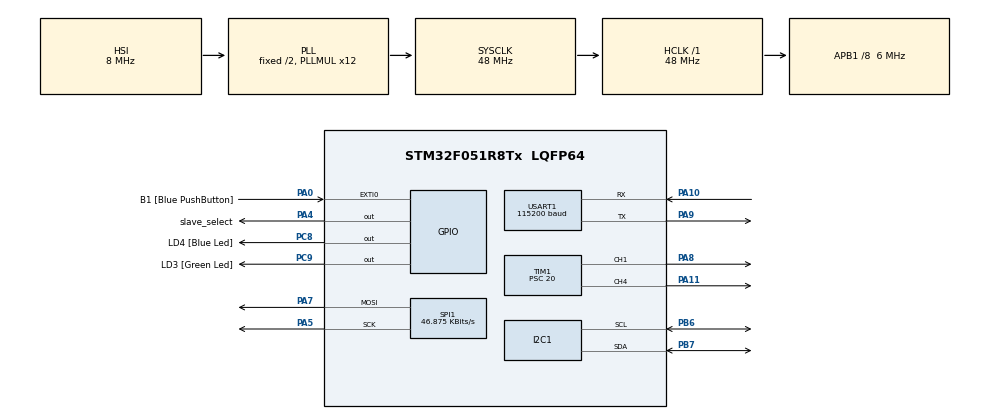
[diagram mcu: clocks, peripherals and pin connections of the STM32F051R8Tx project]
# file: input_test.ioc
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Mcu.Family=STM32F0
Mcu.Name=STM32F051R8Tx
Mcu.Package=LQFP64
NVIC.SPI1_IRQn=true\:0\:0\:false\:false\:true\:true
NVIC.USART1_IRQn=true\:0\:0\:false\:false\:true\:true
PA0.GPIO_Label=B1 [Blue PushButton]
PA0.GPIO_ModeDefaultEXTI=GPIO_MODE_EVT_RISING
PA0.Signal=GPXTI0
PA10.Mode=Asynchronous
PA10.Signal=USART1_RX
PA11.Signal=S_TIM1_CH4
PA13.GPIO_Label=SWDIO
PA13.Mode=Serial_Wire
PA13.Signal=SYS_SWDIO
PA14.GPIO_Label=SWCLK
PA14.Mode=Serial_Wire
PA14.Signal=SYS_SWCLK
PA4.GPIO_Label=slave_select
PA4.Signal=GPIO_Output
PA5.Mode=TX_Only_Simplex_Unidirect_Master
PA5.Signal=SPI1_SCK
PA7.Mode=TX_Only_Simplex_Unidirect_Master
PA7.Signal=SPI1_MOSI
PA8.Signal=S_TIM1_CH1
PA9.Mode=Asynchronous
PA9.Signal=USART1_TX
PB6.Mode=I2C
PB6.Signal=I2C1_SCL
PB7.Mode=I2C
PB7.Signal=I2C1_SDA
PC8.GPIO_Label=LD4 [Blue Led]
PC8.Signal=GPIO_Output
PC9.GPIO_Label=LD3 [Green Led]
PC9.Signal=GPIO_Output
ProjectManager.HeapSize=0x200
ProjectManager.StackSize=0x400
ProjectManager.TargetToolchain=SW4STM32
RCC.AHBFreq_Value=48000000
RCC.APB1CLKDivider=RCC_HCLK_DIV8
RCC.APB1Freq_Value=6000000
RCC.APB1TimFreq_Value=12000000
RCC.HCLKFreq_Value=48000000
RCC.PLLMUL=RCC_PLL_MUL12
RCC.SYSCLKFreq_VALUE=48000000
RCC.SYSCLKSource=RCC_SYSCLKSOURCE_PLLCLK
SH.S_TIM1_CH1.0=TIM1_CH1,PWM Generation1 CH1
SH.S_TIM1_CH4.0=TIM1_CH4,PWM Generation4 CH4
SPI1.BaudRatePrescaler=SPI_BAUDRATEPRESCALER_128
SPI1.CLKPhase=SPI_PHASE_2EDGE
SPI1.CLKPolarity=SPI_POLARITY_HIGH
SPI1.CalculateBaudRate=46.875 KBits/s
SPI1.DataSize=SPI_DATASIZE_8BIT
SPI1.Direction=SPI_DIRECTION_2LINES
SPI1.Mode=SPI_MODE_MASTER
SPI1.VirtualType=VM_MASTER
TIM1.Channel-PWM\ Generation1\ CH1=TIM_CHANNEL_1
TIM1.Channel-PWM\ Generation4\ CH4=TIM_CHANNEL_4
TIM1.Period=19999
TIM1.Prescaler=20
USART1.BaudRate=115200
USART1.VirtualMode-Asynchronous=VM_ASYNC
board=STM32F0DISCOVERY

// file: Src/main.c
/**
  ******************************************************************************
  * @file           : main.c
  * @brief          : Main program body
  ******************************************************************************
  ** This notice applies to any and all portions of this file
  * that are not between comment pairs USER CODE BEGIN and
  * USER CODE END. Other portions of this file, whether
  * inserted by the user or by software development tools
  * are owned by their respective copyright owners.
  *
  * COPYRIGHT(c) 2018 STMicroelectronics
  *
  * Redistribution and use in source and binary forms, with or without modification,
  * are permitted provided that the following conditions are met:
  *   1. Redistributions of source code must retain the above copyright notice,
  *      this list of conditions and the following disclaimer.
  *   2. Redistributions in binary form must reproduce the above copyright notice,
  *      this list of conditions and the following disclaimer in the documentation
  *      and/or other materials provided with the distribution.
  *   3. Neither the name of STMicroelectronics nor the names of its contributors
  *      may be used to endorse or promote products derived from this software
  *      without specific prior written permission.
  *
  * THIS SOFTWARE IS PROVIDED BY THE COPYRIGHT HOLDERS AND CONTRIBUTORS "AS IS"
  * AND ANY EXPRESS OR IMPLIED WARRANTIES, INCLUDING, BUT NOT LIMITED TO, THE
  * IMPLIED WARRANTIES OF MERCHANTABILITY AND FITNESS FOR A PARTICULAR PURPOSE ARE
  * DISCLAIMED. IN NO EVENT SHALL THE COPYRIGHT HOLDER OR CONTRIBUTORS BE LIABLE
  * FOR ANY DIRECT, INDIRECT, INCIDENTAL, SPECIAL, EXEMPLARY, OR CONSEQUENTIAL
  * DAMAGES (INCLUDING, BUT NOT LIMITED TO, PROCUREMENT OF SUBSTITUTE GOODS OR
  * SERVICES; LOSS OF USE, DATA, OR PROFITS; OR BUSINESS INTERRUPTION) HOWEVER
  * CAUSED AND ON ANY THEORY OF LIABILITY, WHETHER IN CONTRACT, STRICT LIABILITY,
  * OR TORT (INCLUDING NEGLIGENCE OR OTHERWISE) ARISING IN ANY WAY OUT OF THE USE
  * OF THIS SOFTWARE, EVEN IF ADVISED OF THE POSSIBILITY OF SUCH DAMAGE.
  *
  ******************************************************************************
  */
#include "main.h"
#include "stm32f0xx_hal.h"

I2C_HandleTypeDef hi2c1;

SPI_HandleTypeDef hspi1;

TIM_HandleTypeDef htim1;

UART_HandleTypeDef huart1;

/* USER CODE BEGIN PV */
/* Private variables ---------------------------------------------------------*/
int infoState = 0;							//state of information throughout the code
char input[100];							//input string used to store buffered data
char lastRecString[100];
char idx, data[2], buffer[100], complete;	//used to configure callback function
char buffer_i2c[1];							//variable used to record the received data from arduino (I2C protocol)
int y_diff = 0;
char input_spi[100];

int MAX_Y = 1250;				//Maximum motor orientation on Y-axis (PWM CCR value)
int MIN_Y = 1100;				//Minimum motor orientation on Y-axis (PWM CCR value)
int MAX_X = 700;				//Maximum motor orientation on X-axis (PWM CCR value)
int MIN_X = 300;				//Minimum motor orientation on X-axis (PWM CCR value)
int mid_x = 320;				//Center x-coordinate for camera frame
int mid_y = 240;				//Center y-coordinate for camera frame
int delta_max_x = 40;			//x-range of static range region (where motors x-axis remain static)
int delta_max_y = 50;			//y-range of static range region (where motors y-axis remain static)
int motor_input_x = 500;		//variable used to determine x-axis motors orientation (PWM CCR value)
int motor_input_y = 1250;		//variable used to determine y-axis motors orientation (PWM CCR value)
int motor_center_x = 500;		//Motor "center" x-coordinate based on the product application (PWM CCR value)
int motor_center_y = 1250;		//Motor "center" y-coordinate based on the product application (PWM CCR value)
int flag_automan = -1;			//flag (integers number) indicate the touchscreen response
int flag_message1 = 0;
int flag_message2 = 0;
/* USER CODE END PV */

void SystemClock_Config(void);
static void MX_GPIO_Init(void);
static void MX_USART1_UART_Init(void);
static void MX_SPI1_Init(void);
static void MX_I2C1_Init(void);
static void MX_TIM1_Init(void);

void HAL_TIM_MspPostInit(TIM_HandleTypeDef *htim);

/* USER CODE BEGIN PFP */
/* Private function prototypes -----------------------------------------------*/

/* USER CODE END PFP */

/* USER CODE BEGIN 0 */

/*
 * UART communication protocol functions
 * (communication with OpenCV)
 */
void transmitString(char* ch){
	//infoState = 1;
	HAL_UART_Transmit(&huart1, (uint8_t *)ch, strlen(ch), 50);
	return;
}

void HAL_UART_RxCpltCallback(UART_HandleTypeDef* huart){
	uint8_t i;
	if (huart -> Instance == USART1){
		if(idx == 0){
			//clear the buffer before receiving incoming signal
			for(i = 0; i < 100; i++){
				buffer[i] = 0;
			}
		}
		//start receiving data when enter is pressed
		if(data[0] != 10 && data[0] != 13){
			buffer[idx++] = data[0]; //transferring data
		}
		else{
			idx = 0;
			complete = 1; //update transfer complete flag to be on (=1)
		}

		HAL_UART_Receive_IT(&huart1, (uint8_t *) data, 1);
	}
}

void receiveString(){
	//HAL_UART_RxCpltCallback(&huart1);
	if(complete){
	  sprintf(input,"%s\n",buffer);	//use sprintf to add the new line character
  	  char* input = buffer;
	  transmitString(input);		//transmit the received signal to the output
  	  complete = 0;					//reset the complete transfer flag
  	  infoState = 1;				//raised the receiving signal flag

  	}
	return;
}

void scan_input(int* x_coord, int* y_coord){
		  if(complete){
		  	sprintf(input,"%s", buffer);
		  	char sep[2]=",";
		  	char* translate_input;

		  	char output[100];

			translate_input = strtok(input, sep);
//			sprintf(output, "Hello from board. this is x input: %s\n", translate_input);
			*x_coord = atoi(translate_input);
//			transmitString(output);		//transmit the received signal to the output

			translate_input = strtok(NULL, sep);

//			sprintf(output, "Hello from board. this is y input: %s\n", translate_input);
			*y_coord = atoi(translate_input);
			complete = 0;					//reset the complete transfer flag

	  }
}

void motor_x(int ccr_value){//max = 700 (highest x coord), min = 300 (lowest y coord)
	if(ccr_value >= MIN_X && ccr_value <= MAX_X){
		TIM1->CCR4 =ccr_value;//300 is the one edge 1200 is the other edge (x-axis, bottom motor)
	}
}

void motor_y(int ccr_value){//max = 1250(lowest y coord) main = 1100 (highest y coord)
	if(ccr_value >= MIN_Y && ccr_value <= MAX_Y){
		TIM1->CCR1 =ccr_value;//300 is the one edge 1200 is the other edge (y-axis, top motor)
	}
}

/*
 * LCD touch screen responsive functions. Touchscreen
 * Input Capture speed configured in these functions.
 */
void motors_reset(){
	  motor_x(500); //default position of x
	  motor_y(1200); //default position of y
//	  motor_input_x = 500; //just for testing
//	  motor_input_y = 1100;
}

void back_to_orig(){
	if(motor_input_x < motor_center_x){
		motor_input_x += 5;

	}else if(motor_input_x > motor_center_x){
		motor_input_x -= 5;
	}

	if(motor_input_y < motor_center_y){
		motor_input_y += 5;
	}
	motor_x(motor_input_x);
	motor_y(motor_input_y);
	HAL_Delay(40);
}

void up(){
	motor_input_y -= 5;
	motor_y(motor_input_y);
	HAL_Delay(50);
}

void down(){
	motor_input_y += 5;
	motor_y(motor_input_y);
	HAL_Delay(50);
}

void left(){
	motor_input_x -= 5;
	motor_x(motor_input_x);
	HAL_Delay(50);
}

void right(){
	motor_input_x += 5;
	motor_x(motor_input_x);
	HAL_Delay(50);
}

/*
 * SPI functions for Hitachi LCD
 */
void transmit_SPI(char* ch){
	HAL_GPIO_WritePin(GPIOA, slave_select_Pin, GPIO_PIN_RESET);
	HAL_SPI_Transmit(&hspi1, (uint8_t *) ch, strlen(ch), HAL_MAX_DELAY);
	HAL_GPIO_WritePin(GPIOA, slave_select_Pin, GPIO_PIN_SET);
	HAL_Delay(20);
}

void clear_screen(){
	int i;
	for(i = 0; i < 100; i++){
		input_spi[i] = 0;
	}
	input_spi[0] = 0xfe;
	transmit_SPI(input_spi);
	input_spi[0] = 0x51;
	transmit_SPI(input_spi);

}

void displayOn(){
	HAL_Delay(2);
	input_spi[0] = 0xfe;
	transmit_SPI(input_spi);
	input_spi[0] = 0x41;
	transmit_SPI(input_spi);

}

void enable_blink(){
	input_spi[0] = 0xfe;
	transmit_SPI(input_spi);
	input_spi[0] = 0x4B;
	transmit_SPI(input_spi);

}

void second_line(){
	input_spi[0] = 0xfe;
	transmit_SPI(input_spi);
	input_spi[0] = 0x45;
	transmit_SPI(input_spi);
	input_spi[0] = 0x40;
	transmit_SPI(input_spi);
}

void first_line(){
	input_spi[0] = 0xfe;
	transmit_SPI(input_spi);
	input_spi[0] = 0x45;
	transmit_SPI(input_spi);
	input_spi[0] = 0x00;
	transmit_SPI(input_spi);
}

void move_display_left(){
	input_spi[0] = 0xfe;
	transmit_SPI(input_spi);
	input_spi[0] = 0x55;
	transmit_SPI(input_spi);
}

void move_display_right(){
	input_spi[0] = 0xfe;
	transmit_SPI(input_spi);
	input_spi[0] = 0x56;
	transmit_SPI(input_spi);
}

/* USER CODE END 0 */

int main(void)
{

  /* MCU Configuration----------------------------------------------------------*/

  /* Reset of all peripherals, Initializes the Flash interface and the Systick. */
  HAL_Init();

  /* Configure the system clock */
  SystemClock_Config();

  /* Initialize all configured peripherals */
  MX_GPIO_Init();
  MX_USART1_UART_Init();
  MX_SPI1_Init();
  MX_I2C1_Init();
  MX_TIM1_Init();
  /* USER CODE BEGIN 2 */
  HAL_UART_Receive_IT(&huart1, (uint8_t *) data, 1);
  HAL_TIM_Base_Start_IT(&htim1);
  HAL_TIM_PWM_Init(&htim1);//pwm
  TIM1->BDTR |=0x8000;
  TIM1->CCER |= 0X1;
  TIM1->CCER |= 0X1000;

  /*
   * hardware initialization
   */
//  motors_reset();
//  int i;
//  for(i = 0; i < 100; i++){
//    input_spi[i] = 0;
//  }

//  back_to_orig();
  motors_reset();
  clear_screen();
  displayOn();
  transmit_SPI("Hello Human");
  second_line();
  transmit_SPI("I can see you");
  flag_message1 = 1;

//  clear_screen();
//  transmit_SPI("  <-- <--");
//  second_line();
//  transmit_SPI(" control ...");

  /* USER CODE END 2 */

  /* Infinite loop */
  while (1)
  {

  /* USER CODE BEGIN 3 */
	  /*
	   * Flag definition based on touch screen
	   */

	HAL_I2C_Master_Receive(&hi2c1, 0x08 << 1,buffer_i2c, 1, 100);
	if(buffer_i2c[0] == '2'){
		flag_automan = 2;
	}else if(buffer_i2c[0] == '1'){
		flag_automan = 1;
	}else if(buffer_i2c[0] == '3'){
		flag_automan = 3;
	}else if(buffer_i2c[0] == '4'){
		flag_automan = 4;
	}else if(buffer_i2c[0] == '5'){
		flag_automan = 5;
	}else if(buffer_i2c[0] == '6'){
		flag_automan = 6;
	}else if(buffer_i2c[0] == '7'){
		flag_automan = 7;
	}else if(buffer_i2c[0] == '8'){
		flag_automan = 8;
	}else if(buffer_i2c[0] == '0'){
		flag_automan = 0;
	}

	/*
	 * Motors automatic mode algorithms
	 * based on openCV response
	 */
	if(flag_automan == 0 || flag_automan == 1){
		volatile int x_coord = -1;
		volatile int y_coord = -1;
		scan_input(&x_coord, &y_coord);

		int diff_x = x_coord - mid_x;
		int diff_y = y_coord - mid_y;

		if(diff_x < (-1 * delta_max_x) && x_coord != -1){
			motor_input_x += 5;
		}else if(diff_x > delta_max_x && x_coord != -1){
			motor_input_x -= 5;
		}

		if(diff_y < (-1 * delta_max_y) && y_coord != -1){
			motor_input_y -= 5;
		}else if(diff_y > delta_max_y && y_coord != -1){
			motor_input_y += 5;
		}

		motor_x(motor_input_x);
		motor_y(motor_input_y);
	}

	/*
	 * Motors manual mode algorithms
	 * based on touch screen response
	 * Note that the touch screen
	 * capture speed is configured by each
	 * up, down, left, right functions
	 */
	if(flag_automan == 6){
		up();
	}
	if(flag_automan == 7){
		down();
	}
	if(flag_automan == 5){
		right();
	}
	if(flag_automan == 4){
		left();
	}
	if(flag_automan == 8){
//		back_to_orig();
		motors_reset();
	}

//	if(motor_input_x == MAX_X || motor_input_x == MIN_X || motor_input_y == MIN_Y){
//		clear_screen();
//		transmit_SPI("Oops, you are at");
//		second_line();
//		transmit_SPI("the limit");
//	}else{
		if(flag_automan == 1 && flag_message1 == 0){
			clear_screen();
			transmit_SPI("Hello Human");
			second_line();
			transmit_SPI("I can see you");
			flag_message1 = 1;
			flag_message2 = 0;
		}else if(flag_automan == 2 && flag_message2 == 0){
			clear_screen();
			transmit_SPI("You're in");
			second_line();
			transmit_SPI("control ...");
			flag_message1 = 0;
			flag_message2 = 1;
		}
//	}

  }

  /* USER CODE END 3 */

}

void SystemClock_Config(void)
{

  RCC_OscInitTypeDef RCC_OscInitStruct;
  RCC_ClkInitTypeDef RCC_ClkInitStruct;
  RCC_PeriphCLKInitTypeDef PeriphClkInit;

    /**Initializes the CPU, AHB and APB busses clocks
    */
  RCC_OscInitStruct.OscillatorType = RCC_OSCILLATORTYPE_HSI;
  RCC_OscInitStruct.HSIState = RCC_HSI_ON;
  RCC_OscInitStruct.HSICalibrationValue = 16;
  RCC_OscInitStruct.PLL.PLLState = RCC_PLL_ON;
  RCC_OscInitStruct.PLL.PLLSource = RCC_PLLSOURCE_HSI;
  RCC_OscInitStruct.PLL.PLLMUL = RCC_PLL_MUL12;
  RCC_OscInitStruct.PLL.PREDIV = RCC_PREDIV_DIV1;
  if (HAL_RCC_OscConfig(&RCC_OscInitStruct) != HAL_OK)
  {
    _Error_Handler(__FILE__, __LINE__);
  }

    /**Initializes the CPU, AHB and APB busses clocks
    */
  RCC_ClkInitStruct.ClockType = RCC_CLOCKTYPE_HCLK|RCC_CLOCKTYPE_SYSCLK
                              |RCC_CLOCKTYPE_PCLK1;
  RCC_ClkInitStruct.SYSCLKSource = RCC_SYSCLKSOURCE_PLLCLK;
  RCC_ClkInitStruct.AHBCLKDivider = RCC_SYSCLK_DIV1;
  RCC_ClkInitStruct.APB1CLKDivider = RCC_HCLK_DIV8;

  if (HAL_RCC_ClockConfig(&RCC_ClkInitStruct, FLASH_LATENCY_1) != HAL_OK)
  {
    _Error_Handler(__FILE__, __LINE__);
  }

  PeriphClkInit.PeriphClockSelection = RCC_PERIPHCLK_USART1|RCC_PERIPHCLK_I2C1;
  PeriphClkInit.Usart1ClockSelection = RCC_USART1CLKSOURCE_PCLK1;
  PeriphClkInit.I2c1ClockSelection = RCC_I2C1CLKSOURCE_HSI;
  if (HAL_RCCEx_PeriphCLKConfig(&PeriphClkInit) != HAL_OK)
  {
    _Error_Handler(__FILE__, __LINE__);
  }

    /**Configure the Systick interrupt time
    */
  HAL_SYSTICK_Config(HAL_RCC_GetHCLKFreq()/1000);

    /**Configure the Systick
    */
  HAL_SYSTICK_CLKSourceConfig(SYSTICK_CLKSOURCE_HCLK);

  /* SysTick_IRQn interrupt configuration */
  HAL_NVIC_SetPriority(SysTick_IRQn, 0, 0);
}

/* I2C1 init function */
static void MX_I2C1_Init(void)
{

  hi2c1.Instance = I2C1;
  hi2c1.Init.Timing = 0x2000090E;
  hi2c1.Init.OwnAddress1 = 0;
  hi2c1.Init.AddressingMode = I2C_ADDRESSINGMODE_7BIT;
  hi2c1.Init.DualAddressMode = I2C_DUALADDRESS_DISABLE;
  hi2c1.Init.OwnAddress2 = 0;
  hi2c1.Init.OwnAddress2Masks = I2C_OA2_NOMASK;
  hi2c1.Init.GeneralCallMode = I2C_GENERALCALL_DISABLE;
  hi2c1.Init.NoStretchMode = I2C_NOSTRETCH_DISABLE;
  if (HAL_I2C_Init(&hi2c1) != HAL_OK)
  {
    _Error_Handler(__FILE__, __LINE__);
  }

    /**Configure Analogue filter
    */
  if (HAL_I2CEx_ConfigAnalogFilter(&hi2c1, I2C_ANALOGFILTER_ENABLE) != HAL_OK)
  {
    _Error_Handler(__FILE__, __LINE__);
  }

    /**Configure Digital filter
    */
  if (HAL_I2CEx_ConfigDigitalFilter(&hi2c1, 0) != HAL_OK)
  {
    _Error_Handler(__FILE__, __LINE__);
  }

}

/* SPI1 init function */
static void MX_SPI1_Init(void)
{

  /* SPI1 parameter configuration*/
  hspi1.Instance = SPI1;
  hspi1.Init.Mode = SPI_MODE_MASTER;
  hspi1.Init.Direction = SPI_DIRECTION_2LINES;
  hspi1.Init.DataSize = SPI_DATASIZE_8BIT;
  hspi1.Init.CLKPolarity = SPI_POLARITY_HIGH;
  hspi1.Init.CLKPhase = SPI_PHASE_2EDGE;
  hspi1.Init.NSS = SPI_NSS_SOFT;
  hspi1.Init.BaudRatePrescaler = SPI_BAUDRATEPRESCALER_128;
  hspi1.Init.FirstBit = SPI_FIRSTBIT_MSB;
  hspi1.Init.TIMode = SPI_TIMODE_DISABLE;
  hspi1.Init.CRCCalculation = SPI_CRCCALCULATION_DISABLE;
  hspi1.Init.CRCPolynomial = 7;
  hspi1.Init.CRCLength = SPI_CRC_LENGTH_DATASIZE;
  hspi1.Init.NSSPMode = SPI_NSS_PULSE_DISABLE;
  if (HAL_SPI_Init(&hspi1) != HAL_OK)
  {
    _Error_Handler(__FILE__, __LINE__);
  }

}

/* TIM1 init function */
static void MX_TIM1_Init(void)
{

  TIM_MasterConfigTypeDef sMasterConfig;
  TIM_OC_InitTypeDef sConfigOC;
  TIM_BreakDeadTimeConfigTypeDef sBreakDeadTimeConfig;

  htim1.Instance = TIM1;
  htim1.Init.Prescaler = 20;
  htim1.Init.CounterMode = TIM_COUNTERMODE_UP;
  htim1.Init.Period = 19999;
  htim1.Init.ClockDivision = TIM_CLOCKDIVISION_DIV1;
  htim1.Init.RepetitionCounter = 0;
  htim1.Init.AutoReloadPreload = TIM_AUTORELOAD_PRELOAD_DISABLE;
  if (HAL_TIM_PWM_Init(&htim1) != HAL_OK)
  {
    _Error_Handler(__FILE__, __LINE__);
  }

  sMasterConfig.MasterOutputTrigger = TIM_TRGO_RESET;
  sMasterConfig.MasterSlaveMode = TIM_MASTERSLAVEMODE_DISABLE;
  if (HAL_TIMEx_MasterConfigSynchronization(&htim1, &sMasterConfig) != HAL_OK)
  {
    _Error_Handler(__FILE__, __LINE__);
  }

  sConfigOC.OCMode = TIM_OCMODE_PWM1;
  sConfigOC.Pulse = 0;
  sConfigOC.OCPolarity = TIM_OCPOLARITY_HIGH;
  sConfigOC.OCNPolarity = TIM_OCNPOLARITY_HIGH;
  sConfigOC.OCFastMode = TIM_OCFAST_DISABLE;
  sConfigOC.OCIdleState = TIM_OCIDLESTATE_RESET;
  sConfigOC.OCNIdleState = TIM_OCNIDLESTATE_RESET;
  if (HAL_TIM_PWM_ConfigChannel(&htim1, &sConfigOC, TIM_CHANNEL_1) != HAL_OK)
  {
    _Error_Handler(__FILE__, __LINE__);
  }

  if (HAL_TIM_PWM_ConfigChannel(&htim1, &sConfigOC, TIM_CHANNEL_4) != HAL_OK)
  {
    _Error_Handler(__FILE__, __LINE__);
  }

  sBreakDeadTimeConfig.OffStateRunMode = TIM_OSSR_DISABLE;
  sBreakDeadTimeConfig.OffStateIDLEMode = TIM_OSSI_DISABLE;
  sBreakDeadTimeConfig.LockLevel = TIM_LOCKLEVEL_OFF;
  sBreakDeadTimeConfig.DeadTime = 0;
  sBreakDeadTimeConfig.BreakState = TIM_BREAK_DISABLE;
  sBreakDeadTimeConfig.BreakPolarity = TIM_BREAKPOLARITY_HIGH;
  sBreakDeadTimeConfig.AutomaticOutput = TIM_AUTOMATICOUTPUT_DISABLE;
  if (HAL_TIMEx_ConfigBreakDeadTime(&htim1, &sBreakDeadTimeConfig) != HAL_OK)
  {
    _Error_Handler(__FILE__, __LINE__);
  }

  HAL_TIM_MspPostInit(&htim1);

}

/* USART1 init function */
static void MX_USART1_UART_Init(void)
{

  huart1.Instance = USART1;
  huart1.Init.BaudRate = 115200;
  huart1.Init.WordLength = UART_WORDLENGTH_8B;
  huart1.Init.StopBits = UART_STOPBITS_1;
  huart1.Init.Parity = UART_PARITY_NONE;
  huart1.Init.Mode = UART_MODE_TX_RX;
  huart1.Init.HwFlowCtl = UART_HWCONTROL_NONE;
  huart1.Init.OverSampling = UART_OVERSAMPLING_16;
  huart1.Init.OneBitSampling = UART_ONE_BIT_SAMPLE_DISABLE;
  huart1.AdvancedInit.AdvFeatureInit = UART_ADVFEATURE_NO_INIT;
  if (HAL_UART_Init(&huart1) != HAL_OK)
  {
    _Error_Handler(__FILE__, __LINE__);
  }

}

/** Configure pins as
        * Analog
        * Input
        * Output
        * EVENT_OUT
        * EXTI
*/
static void MX_GPIO_Init(void)
{

  GPIO_InitTypeDef GPIO_InitStruct;

  /* GPIO Ports Clock Enable */
  __HAL_RCC_GPIOA_CLK_ENABLE();
  __HAL_RCC_GPIOC_CLK_ENABLE();
  __HAL_RCC_GPIOB_CLK_ENABLE();

  /*Configure GPIO pin Output Level */
  HAL_GPIO_WritePin(slave_select_GPIO_Port, slave_select_Pin, GPIO_PIN_RESET);

  /*Configure GPIO pin Output Level */
  HAL_GPIO_WritePin(GPIOC, LD4_Pin|LD3_Pin, GPIO_PIN_RESET);

  /*Configure GPIO pin : B1_Pin */
  GPIO_InitStruct.Pin = B1_Pin;
  GPIO_InitStruct.Mode = GPIO_MODE_EVT_RISING;
  GPIO_InitStruct.Pull = GPIO_NOPULL;
  HAL_GPIO_Init(B1_GPIO_Port, &GPIO_InitStruct);

  /*Configure GPIO pin : slave_select_Pin */
  GPIO_InitStruct.Pin = slave_select_Pin;
  GPIO_InitStruct.Mode = GPIO_MODE_OUTPUT_PP;
  GPIO_InitStruct.Pull = GPIO_NOPULL;
  GPIO_InitStruct.Speed = GPIO_SPEED_FREQ_LOW;
  HAL_GPIO_Init(slave_select_GPIO_Port, &GPIO_InitStruct);

  /*Configure GPIO pins : LD4_Pin LD3_Pin */
  GPIO_InitStruct.Pin = LD4_Pin|LD3_Pin;
  GPIO_InitStruct.Mode = GPIO_MODE_OUTPUT_PP;
  GPIO_InitStruct.Pull = GPIO_NOPULL;
  GPIO_InitStruct.Speed = GPIO_SPEED_FREQ_LOW;
  HAL_GPIO_Init(GPIOC, &GPIO_InitStruct);

}

void _Error_Handler(char *file, int line)
{
  while(1)
  {
  }
}

/************************ (C) COPYRIGHT STMicroelectronics *****END OF FILE****/
